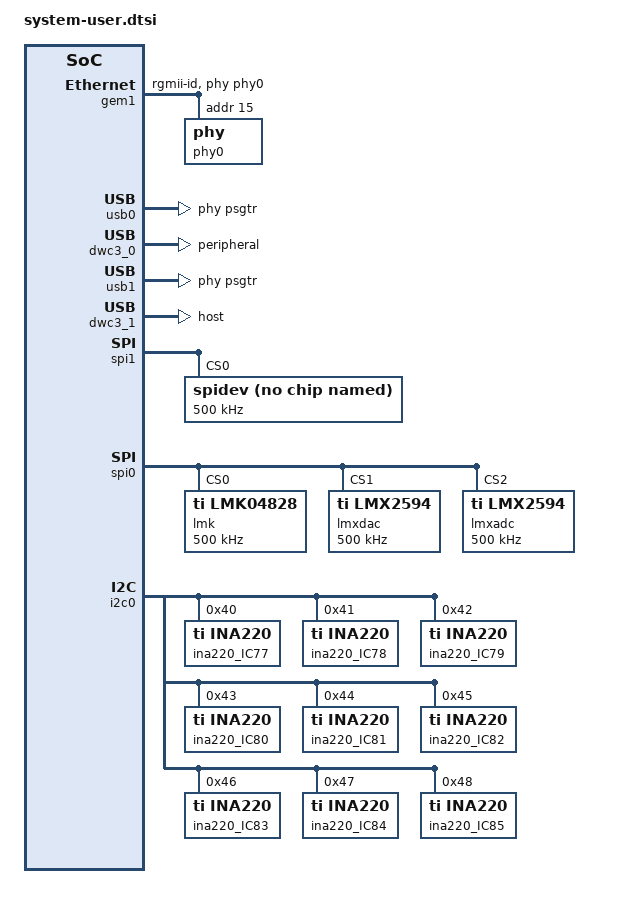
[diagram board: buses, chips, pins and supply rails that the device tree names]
/include/ "system-conf.dtsi"
#include <dt-bindings/phy/phy.h>

/ {
	chosen {
		bootargs = " earlycon console=ttyPS0,115200 clk_ignore_unused root=/dev/mmcblk0p2 rw";
		stdout-path = "serial0:115200n8";
	};

        dp_clk:psgtr_dp_clock {
                compatible = "fixed-clock";
                #clock-cells = <0x00>;
                clock-frequency = <27000000>;
        };

	usb_clk:psgtr_usb_clock {
                compatible = "fixed-clock";
		#clock-cells = <0x00>;
                clock-frequency = <26000000>;
	};

};

&gem1 {
	status = "okay";
	phy-handle = <&phy0>;
	phy-mode = "rgmii-id";
	/* pinctrl-names = "default";
	pinctrl-0 = <&pinctrl_gem1_default>; */
	phy0: phy@f {
		reg = <0xf>;
		ti,rx-internal-delay = <0x8>;
		ti,tx-internal-delay = <0xa>;
		ti,fifo-depth = <0x1>;
		ti,dp83867-rxctrl-strap-quirk;
	};
};


&sdhci0 {
	no-1-8-v;
};


&psgtr {
      /* dp 0-1, usb0, usb1 */
      clocks = <&usb_clk>, <&dp_clk>;
      clock-names = "ref0", "ref1";



};

&zynqmp_dpsub {
	phys = <&psgtr 1 PHY_TYPE_DP 0 1>, <&psgtr 0 PHY_TYPE_DP 1 1>;
};

&usb0 {
	status = "okay";
        phy-names = "usb3-phy";
	phys = <&psgtr 2 PHY_TYPE_USB3 0 0>;
};

&dwc3_0 {
	status = "okay";
	dr_mode = "peripheral";
	snps,usb3_lpm_capable;
	maximum-speed = "super-speed";
};

&usb1 {
	status = "okay";
	phy-names = "usb3-phy";
	phys = <&psgtr 3 PHY_TYPE_USB3 1 0>;
};

&dwc3_1 {
	status = "okay";
	dr_mode = "host";
	snps,usb3_lpm_capable;
	maximum-speed = "super-speed";
};

&spi1 {
	spidev@0 {
		compatible = "rohm,dh2228fv";
		reg = <0>;
		spi-max-frequency = <500000>;
	};
};

&spi0 {
	lmk@0 {
		compatible = "ti,lmk04828";
		reg = <0x0>;
		spi-max-frequency = <500000>;
		num_bytes = <3>;
	};
	lmxdac@1 {
		compatible = "ti,lmx2594";
		reg = <0x1>;
		spi-max-frequency = <500000>;
		num_bytes = <3>;
	};
	lmxadc@2 {
		compatible = "ti,lmx2594";
		reg = <0x2>;
		spi-max-frequency = <500000>;
		num_bytes = <3>;
	};
};

&i2c0 {
	ina220_IC77@40 {
		compatible = "ti,ina220";
		reg = <0x40>;
		shunt-resistor = <1000>;
	};
	ina220_IC78@41 {
		compatible = "ti,ina220";
		reg = <0x41>;
		shunt-resistor = <1000>;
	};
	ina220_IC79@42 {
		compatible = "ti,ina220";
		reg = <0x42>;
		shunt-resistor = <1000>;
	};
	ina220_IC80@43 {
		compatible = "ti,ina220";
		reg = <0x43>;
		shunt-resistor = <10000>;
	};
	ina220_IC81@44 {
		compatible = "ti,ina220";
		reg = <0x44>;
		shunt-resistor = <10000>;
	};
	ina220_IC82@45 {
		compatible = "ti,ina220";
		reg = <0x45>;
		shunt-resistor = <10000>;
	};
	ina220_IC83@46 {
		compatible = "ti,ina220";
		reg = <0x46>;
		shunt-resistor = <10000>;
	};
	ina220_IC84@47 {
		compatible = "ti,ina220";
		reg = <0x47>;
		shunt-resistor = <10000>;
	};
	ina220_IC85@48 {
		compatible = "ti,ina220";
		reg = <0x48>;
		shunt-resistor = <10000>;
	};
};

